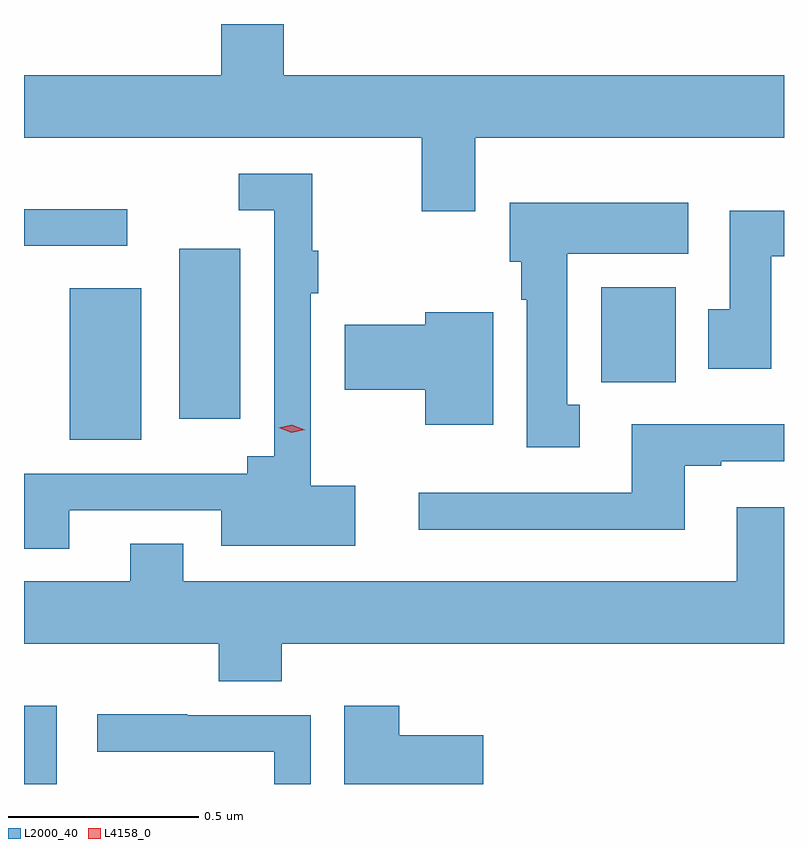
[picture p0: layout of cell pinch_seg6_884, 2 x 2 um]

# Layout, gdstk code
import gdstk
lib = gdstk.Library(unit=1e-6, precision=1e-09)
def R(c, l, rs):  # rectangles x0, y0, x1, y1
    for r in rs: c.add(gdstk.rectangle(r[:2], r[2:], *l))
def P(c, l, *ps):  # polygons
    for p in ps: c.add(gdstk.Polygon(p, *l))
L2000_40 = (2000, 40)
L4158_0 = (4158, 0)

pinch_seg6_884 = lib.new_cell('pinch_seg6_884')
R(pinch_seg6_884, L2000_40, [(144.086,961.619,144.172,961.825), (144.206,962.525,144.394,962.923), (144.494,962.58,144.655,963.028), (145.605,962.676,145.801,962.926), (144.086,963.036,144.358,963.132)])
P(pinch_seg6_884, L2000_40, [(145.273,963.32),(146.086,963.32),(146.086,963.484),(144.77,963.484),(144.77,963.619),(144.605,963.619),(144.605,963.484),(144.086,963.484),(144.086,963.32),(145.133,963.32),(145.133,963.126),(145.273,963.126)],
  [(144.205,962.34),(144.605,962.34),(144.605,962.246),(144.958,962.246),(144.958,962.404),(144.84,962.404),(144.84,962.911),(144.86,962.911),(144.86,963.022),(144.845,963.022),(144.845,963.225),(144.651,963.225),(144.651,963.129),(144.744,963.129),(144.744,962.482),(144.674,962.482),(144.674,962.436),(144.086,962.436),(144.086,962.238),(144.205,962.238)],
  [(145.549,962.617),(145.516,962.617),(145.516,963.014),(145.834,963.014),(145.834,963.148),(145.364,963.148),(145.364,962.994),(145.394,962.994),(145.394,962.894),(145.409,962.894),(145.409,962.505),(145.549,962.505)],
  [(146.053,963.008),(146.086,963.008),(146.086,963.127),(145.943,963.127),(145.943,962.868),(145.886,962.868),(145.886,962.712),(146.053,962.712)],
  [(145.321,962.86),(145.142,962.86),(145.142,962.828),(144.93,962.828),(144.93,962.657),(145.142,962.657),(145.142,962.564),(145.321,962.564)],
  [(145.825,962.457),(145.921,962.457),(145.921,962.469),(146.086,962.469),(146.086,962.566),(145.685,962.566),(145.685,962.385),(145.125,962.385),(145.125,962.288),(145.825,962.288)],
  [(144.764,961.988),(146.086,961.988),(146.086,962.347),(145.961,962.347),(145.961,962.152),(144.505,962.152),(144.505,962.251),(144.365,962.251),(144.365,962.152),(144.086,962.152),(144.086,961.988),(144.599,961.988),(144.599,961.889),(144.764,961.889)],
  [(145.295,961.747),(145.073,961.747),(145.073,961.825),(144.929,961.825),(144.929,961.619),(145.295,961.619)],
  [(144.84,961.8),(144.515,961.8),(144.515,961.802),(144.279,961.802),(144.279,961.704),(144.744,961.704),(144.744,961.619),(144.84,961.619)])
P(pinch_seg6_884, L4158_0, [(144.79,962.544),(144.756,962.556),(144.755,962.556),(144.756,962.556),(144.791,962.564),(144.825,962.551),(144.826,962.551),(144.825,962.551)])

lib.write_gds('pinch_seg6_884.gds')
